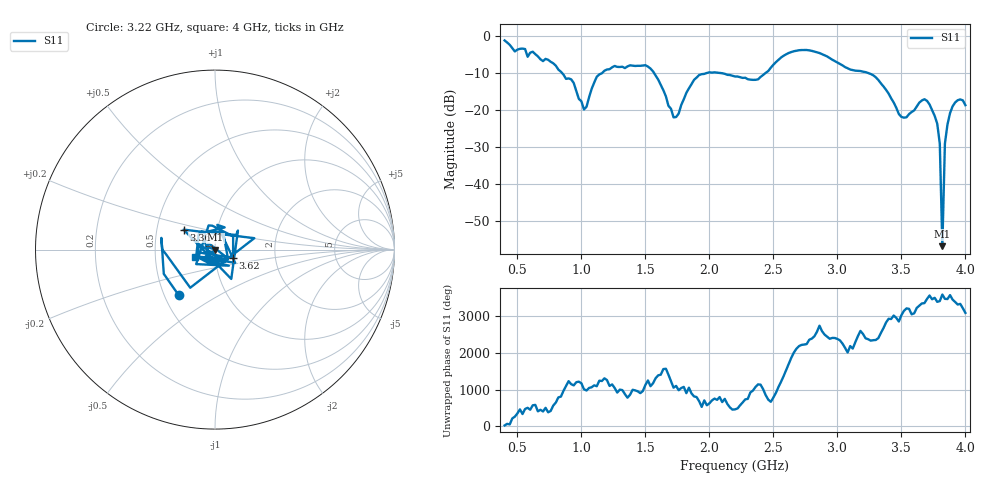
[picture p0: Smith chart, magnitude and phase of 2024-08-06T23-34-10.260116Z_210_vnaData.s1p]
!Created with skrf (http://scikit-rf.org).
# Hz S RI R 50.0
!freq ReS11 ImS11
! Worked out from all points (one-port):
!   181 points, 400 MHz to 4 GHz, reference 50 ohm
!   lowest |S11| = -57.0 dB at 3.82 GHz (marker M1), VSWR 1.00, Z = 50.1 - j0.0549 ohm
!   |S11| at or under -10 dB: 1.567 GHz to 1.982 GHz (414.2 MHz wide, 23.3 % of centre); 2.074 GHz to 2.439 GHz (365.4 MHz wide, 16.2 % of centre); 3.239 GHz to end of sweep (the widest 3 of 4)
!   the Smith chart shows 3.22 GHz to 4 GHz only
!   S11 on the Smith chart (normalised r, x): 3.22 GHz: 0.59, -0.33; 3.36 GHz: 0.69, +0.16; 3.62 GHz: 1.22, -0.12; 4 GHz: 0.80, -0.06
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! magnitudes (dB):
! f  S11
! 400 MHz  -1.2
! 860 MHz  -10.5
! 940 MHz  -12.7
! 1.02 GHz  -19.9
! 1.12 GHz  -11.0
! 1.3 GHz  -8.4
! 1.54 GHz  -8.8
! 1.72 GHz  -22.0
! 1.76 GHz  -21.0
! 1.92 GHz  -10.6
! 2.2 GHz  -11.0
! 2.38 GHz  -11.7
! 2.66 GHz  -4.1
! 2.86 GHz  -4.6
! 3.1 GHz  -9.1
! 3.22 GHz  -9.8
! 3.36 GHz  -13.7
! 3.5 GHz  -21.9
! 3.56 GHz  -21.1
! 3.62 GHz  -19.1
! 3.7 GHz  -17.6
! 3.78 GHz  -23.8
! 3.8 GHz  -29.2
! 3.82 GHz  -57.0
! 3.84 GHz  -29.1
! 3.86 GHz  -24.0
! 3.92 GHz  -18.0
! 4 GHz  -18.7
